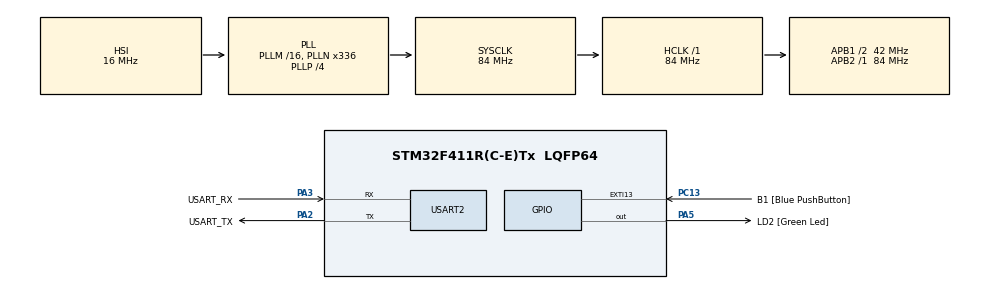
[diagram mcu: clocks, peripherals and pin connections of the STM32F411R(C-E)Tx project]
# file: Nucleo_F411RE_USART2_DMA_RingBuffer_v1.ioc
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Dma.Request0=USART2_RX
Dma.USART2_RX.0.Direction=DMA_PERIPH_TO_MEMORY
Dma.USART2_RX.0.FIFOMode=DMA_FIFOMODE_DISABLE
Dma.USART2_RX.0.Instance=DMA1_Stream5
Dma.USART2_RX.0.MemDataAlignment=DMA_MDATAALIGN_BYTE
Dma.USART2_RX.0.MemInc=DMA_MINC_ENABLE
Dma.USART2_RX.0.Mode=DMA_CIRCULAR
Dma.USART2_RX.0.PeriphDataAlignment=DMA_PDATAALIGN_BYTE
Dma.USART2_RX.0.PeriphInc=DMA_PINC_DISABLE
Dma.USART2_RX.0.Priority=DMA_PRIORITY_LOW
Mcu.Family=STM32F4
Mcu.Name=STM32F411R(C-E)Tx
Mcu.Package=LQFP64
NVIC.DMA1_Stream5_IRQn=true\:0\:0\:false\:false\:true\:false\:true
NVIC.PriorityGroup=NVIC_PRIORITYGROUP_0
PA13.GPIO_Label=TMS
PA13.Mode=Serial_Wire
PA13.Signal=SYS_JTMS-SWDIO
PA14.GPIO_Label=TCK
PA14.Mode=Serial_Wire
PA14.Signal=SYS_JTCK-SWCLK
PA2.GPIO_Label=USART_TX
PA2.Mode=Asynchronous
PA2.Signal=USART2_TX
PA3.GPIO_Label=USART_RX
PA3.Mode=Asynchronous
PA3.Signal=USART2_RX
PA5.GPIO_Label=LD2 [Green Led]
PA5.Signal=GPIO_Output
PB3.GPIO_Label=SWO
PB3.Signal=SYS_JTDO-SWO
PC13-ANTI_TAMP.GPIO_Label=B1 [Blue PushButton]
PC13-ANTI_TAMP.GPIO_ModeDefaultEXTI=GPIO_MODE_IT_FALLING
PC13-ANTI_TAMP.Signal=GPXTI13
PC14-OSC32_IN.Mode=LSE-External-Oscillator
PC14-OSC32_IN.Signal=RCC_OSC32_IN
PC15-OSC32_OUT.Mode=LSE-External-Oscillator
PC15-OSC32_OUT.Signal=RCC_OSC32_OUT
PH0\ -\ OSC_IN.Mode=HSE-External-Clock-Source
PH0\ -\ OSC_IN.Signal=RCC_OSC_IN
PH1\ -\ OSC_OUT.Mode=HSE-External-Clock-Source
PH1\ -\ OSC_OUT.Signal=RCC_OSC_OUT
ProjectManager.HeapSize=0x200
ProjectManager.StackSize=0x400
ProjectManager.TargetToolchain=STM32CubeIDE
RCC.48MHZClocksFreq_Value=84000000
RCC.AHBFreq_Value=84000000
RCC.APB1CLKDivider=RCC_HCLK_DIV2
RCC.APB1Freq_Value=42000000
RCC.APB1TimFreq_Value=84000000
RCC.APB2Freq_Value=84000000
RCC.APB2TimFreq_Value=84000000
RCC.CortexFreq_Value=84000000
RCC.FLatency-AdvancedSettings=FLASH_LATENCY_2
RCC.HCLKFreq_Value=84000000
RCC.HSE_VALUE=8000000
RCC.HSI_VALUE=16000000
RCC.PLLN=336
RCC.PLLP=RCC_PLLP_DIV4
RCC.SYSCLKFreq_VALUE=84000000
RCC.SYSCLKSource=RCC_SYSCLKSOURCE_PLLCLK
RCC.VCOOutputFreq_Value=336000000
USART2.VirtualMode=VM_ASYNC
board=NUCLEO-F411RE

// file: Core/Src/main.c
/* USER CODE BEGIN Header */
/**
 ******************************************************************************
 * @file           : main.c
 * @brief          : Main program body
 ******************************************************************************
 * @attention
 *
 * <h2><center>&copy; Copyright (c) 2021 STMicroelectronics.
 * All rights reserved.</center></h2>
 *
 * This software component is licensed by ST under BSD 3-Clause license,
 * the "License"; You may not use this file except in compliance with the
 * License. You may obtain a copy of the License at:
 *                        opensource.org/licenses/BSD-3-Clause
 *
 ******************************************************************************
 */
/* USER CODE END Header */
#include "main.h"

/* USER CODE BEGIN Includes */
#include <stdio.h>
#include <stdbool.h>
#include <string.h>
/* USER CODE END Includes */

/* USER CODE BEGIN PD */

/*
 * https://www.eevblog.com/forum/microcontrollers/_best_-way-to-load-uart-data-to-ring-buffer-with-stm32hal/
 */

/*
 * The STM32 makes receiving chars into a large circular buffer simple
 * and requires no CPU time. The UART receiver DMA must be setup as CIRCULAR.
 */
#define CIRC_BUF_SZ       64  /* must be power of two */

/* USER CODE END PD */

UART_HandleTypeDef huart2;
DMA_HandleTypeDef hdma_usart2_rx;

/* USER CODE BEGIN PV */
static uint8_t rx_dma_circ_buf[CIRC_BUF_SZ];
static UART_HandleTypeDef *huart_cobs;
static uint32_t rd_ptr;
/* USER CODE END PV */

void SystemClock_Config(void);
static void MX_GPIO_Init(void);
static void MX_DMA_Init(void);
static void MX_USART2_UART_Init(void);

/* USER CODE BEGIN 0 */

#define DMA_WRITE_PTR ( (CIRC_BUF_SZ - huart_cobs->hdmarx->Instance->NDTR) & (CIRC_BUF_SZ - 1) )

void msgrx_init(UART_HandleTypeDef *huart)
{
	huart_cobs = huart;
	HAL_UART_Receive_DMA(huart_cobs, rx_dma_circ_buf, CIRC_BUF_SZ);
	rd_ptr = 0;
}

static bool msgrx_circ_buf_is_empty(void) {
	if(rd_ptr == DMA_WRITE_PTR) {
		return true;
	}
	return false;
}

static uint8_t msgrx_circ_buf_get(void) {
	uint8_t c = 0;
	if(rd_ptr != DMA_WRITE_PTR) {
		c = rx_dma_circ_buf[rd_ptr++];
		rd_ptr &= (CIRC_BUF_SZ - 1);
	}
	return c;
}

static uint16_t readString(char *str, uint16_t size){
	uint16_t length=0;

	for (;;) {
		if (msgrx_circ_buf_is_empty()) continue;
		char c=msgrx_circ_buf_get();
		if ((c=='\n') || (c=='\r')) {
			str[length]=0;
			break;
		}
	    str[length++]=c;
	    if (length == size) {
	    	str[size-1]=0;
	    	break;
	    }
	}
	return length;
}

/* USER CODE BEGIN 0 */
#define PRINTF

// UART2 is connected to st-link
int _write(int file, char *ptr, int len)
{
	HAL_UART_Transmit(&huart2,(uint8_t *)ptr,len,10);
	return len;
}

/*
int _write(int file, char *ptr, int len)
{
	for (uint8_t i=0; i<len; i++){
		LL_USART_TransmitData8(USART2, ptr[i]);
		while ( !LL_USART_IsActiveFlag_TXE(USART2) )
		{
		}
	}
	return len;
}
 */

/* USER CODE END 0 */

int main(void)
{

	/* MCU Configuration--------------------------------------------------------*/

	/* Reset of all peripherals, Initializes the Flash interface and the Systick. */
	HAL_Init();

	/* Configure the system clock */
	SystemClock_Config();

	/* Initialize all configured peripherals */
	MX_GPIO_Init();
	MX_DMA_Init();
	MX_USART2_UART_Init();
	/* USER CODE BEGIN 2 */

	msgrx_init(&huart2);

	/* USER CODE END 2 */

	/* Infinite loop */
	while (1)
	{

		/* USER CODE BEGIN 3 */

		char str[128]={0};
		uint16_t length= readString(str, sizeof str);

	/*
	 * A sequence of characters of the form 'XXX\r\n' or 'XXX\n\r' is split
	 * into a string of characters 'XXX\0' and another '\0' of zero length by definition.
	 * We therefore test its length so as not to display the latter.
	 */
		if (length>0)
			printf("%u %u %s\n", length, strlen(str), str);
	}
	/* USER CODE END 3 */
}

void SystemClock_Config(void)
{
	RCC_OscInitTypeDef RCC_OscInitStruct = {0};
	RCC_ClkInitTypeDef RCC_ClkInitStruct = {0};

	/** Configure the main internal regulator output voltage
	 */
	__HAL_RCC_PWR_CLK_ENABLE();
	__HAL_PWR_VOLTAGESCALING_CONFIG(PWR_REGULATOR_VOLTAGE_SCALE1);
	/** Initializes the RCC Oscillators according to the specified parameters
	 * in the RCC_OscInitTypeDef structure.
	 */
	RCC_OscInitStruct.OscillatorType = RCC_OSCILLATORTYPE_HSI;
	RCC_OscInitStruct.HSIState = RCC_HSI_ON;
	RCC_OscInitStruct.HSICalibrationValue = RCC_HSICALIBRATION_DEFAULT;
	RCC_OscInitStruct.PLL.PLLState = RCC_PLL_ON;
	RCC_OscInitStruct.PLL.PLLSource = RCC_PLLSOURCE_HSI;
	RCC_OscInitStruct.PLL.PLLM = 16;
	RCC_OscInitStruct.PLL.PLLN = 336;
	RCC_OscInitStruct.PLL.PLLP = RCC_PLLP_DIV4;
	RCC_OscInitStruct.PLL.PLLQ = 4;
	if (HAL_RCC_OscConfig(&RCC_OscInitStruct) != HAL_OK)
	{
		Error_Handler();
	}
	/** Initializes the CPU, AHB and APB buses clocks
	 */
	RCC_ClkInitStruct.ClockType = RCC_CLOCKTYPE_HCLK|RCC_CLOCKTYPE_SYSCLK
			|RCC_CLOCKTYPE_PCLK1|RCC_CLOCKTYPE_PCLK2;
	RCC_ClkInitStruct.SYSCLKSource = RCC_SYSCLKSOURCE_PLLCLK;
	RCC_ClkInitStruct.AHBCLKDivider = RCC_SYSCLK_DIV1;
	RCC_ClkInitStruct.APB1CLKDivider = RCC_HCLK_DIV2;
	RCC_ClkInitStruct.APB2CLKDivider = RCC_HCLK_DIV1;

	if (HAL_RCC_ClockConfig(&RCC_ClkInitStruct, FLASH_LATENCY_2) != HAL_OK)
	{
		Error_Handler();
	}
}

static void MX_USART2_UART_Init(void)
{

	huart2.Instance = USART2;
	huart2.Init.BaudRate = 115200;
	huart2.Init.WordLength = UART_WORDLENGTH_8B;
	huart2.Init.StopBits = UART_STOPBITS_1;
	huart2.Init.Parity = UART_PARITY_NONE;
	huart2.Init.Mode = UART_MODE_TX_RX;
	huart2.Init.HwFlowCtl = UART_HWCONTROL_NONE;
	huart2.Init.OverSampling = UART_OVERSAMPLING_16;
	if (HAL_UART_Init(&huart2) != HAL_OK)
	{
		Error_Handler();
	}

}

static void MX_DMA_Init(void)
{

	/* DMA controller clock enable */
	__HAL_RCC_DMA1_CLK_ENABLE();

	/* DMA interrupt init */
	/* DMA1_Stream5_IRQn interrupt configuration */
	HAL_NVIC_SetPriority(DMA1_Stream5_IRQn, 0, 0);
	HAL_NVIC_EnableIRQ(DMA1_Stream5_IRQn);

}

static void MX_GPIO_Init(void)
{
	GPIO_InitTypeDef GPIO_InitStruct = {0};

	/* GPIO Ports Clock Enable */
	__HAL_RCC_GPIOC_CLK_ENABLE();
	__HAL_RCC_GPIOH_CLK_ENABLE();
	__HAL_RCC_GPIOA_CLK_ENABLE();
	__HAL_RCC_GPIOB_CLK_ENABLE();

	/*Configure GPIO pin Output Level */
	HAL_GPIO_WritePin(LD2_GPIO_Port, LD2_Pin, GPIO_PIN_RESET);

	/*Configure GPIO pin : B1_Pin */
	GPIO_InitStruct.Pin = B1_Pin;
	GPIO_InitStruct.Mode = GPIO_MODE_IT_FALLING;
	GPIO_InitStruct.Pull = GPIO_NOPULL;
	HAL_GPIO_Init(B1_GPIO_Port, &GPIO_InitStruct);

	/*Configure GPIO pin : LD2_Pin */
	GPIO_InitStruct.Pin = LD2_Pin;
	GPIO_InitStruct.Mode = GPIO_MODE_OUTPUT_PP;
	GPIO_InitStruct.Pull = GPIO_NOPULL;
	GPIO_InitStruct.Speed = GPIO_SPEED_FREQ_LOW;
	HAL_GPIO_Init(LD2_GPIO_Port, &GPIO_InitStruct);

}

void Error_Handler(void)
{
	__disable_irq();
	while (1)
	{
	}
}

/************************ (C) COPYRIGHT STMicroelectronics *****END OF FILE****/
